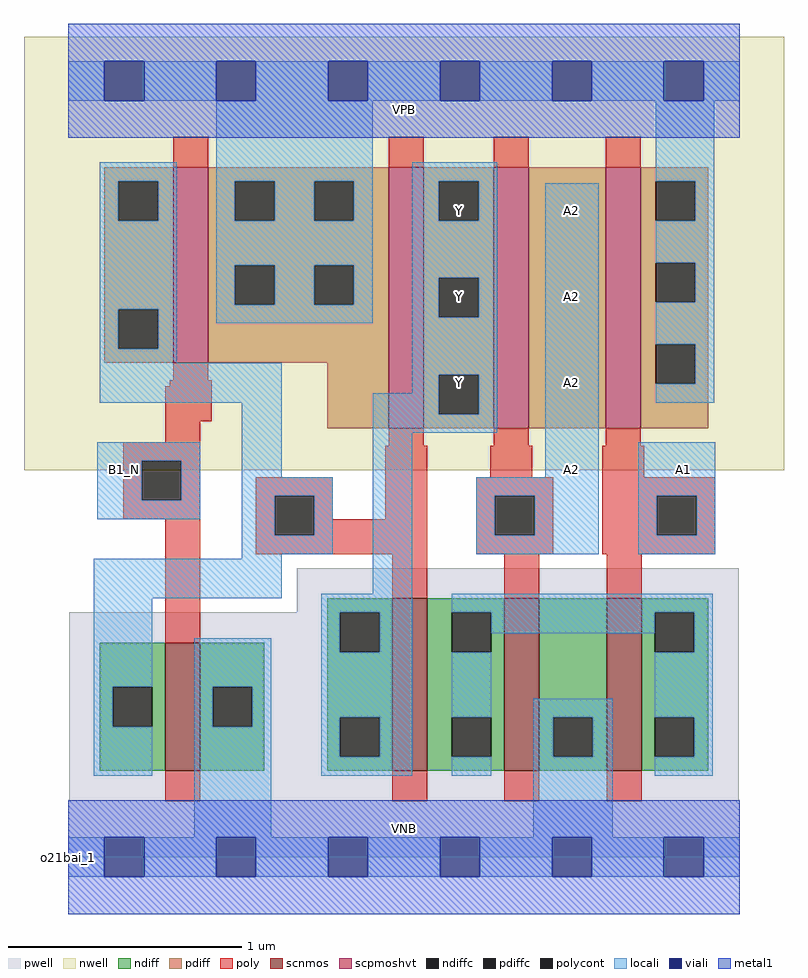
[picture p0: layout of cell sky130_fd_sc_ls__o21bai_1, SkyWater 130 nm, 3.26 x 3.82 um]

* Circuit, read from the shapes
.subckt sky130_fd_sc_ls__o21bai_1 A1 A2 B1_N VGND VNB VPB VPWR Y
XM1 VGND B1_N n1 VNB sky130_fd_pr__nfet_01v8 w=0.55 l=0.15
XM2 n2 n1 Y VNB sky130_fd_pr__nfet_01v8 w=0.74 l=0.15
XM3 VGND A2 n2 VNB sky130_fd_pr__nfet_01v8 w=0.74 l=0.15
XM4 n2 A1 VGND VNB sky130_fd_pr__nfet_01v8 w=0.74 l=0.15
XM5 VPWR B1_N n1 VPB sky130_fd_pr__pfet_01v8_hvt w=0.84 l=0.15
XM6 Y n1 VPWR VPB sky130_fd_pr__pfet_01v8_hvt w=1.12 l=0.15
XM7 n3 A2 Y VPB sky130_fd_pr__pfet_01v8_hvt w=1.12 l=0.15
XM8 VPWR A1 n3 VPB sky130_fd_pr__pfet_01v8_hvt w=1.12 l=0.15
.ends

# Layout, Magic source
magic
tech sky130A
magscale 1 2
<< nwell >>
rect -38 332 614 704
<< pwell >>
rect 196 210 575 248
rect 1 49 575 210
rect 0 0 576 49
<< scnmos >>
rect 83 74 113 184
rect 278 74 308 222
rect 374 74 404 222
rect 462 74 492 222
<< scpmoshvt >>
rect 90 424 120 592
rect 275 368 305 592
rect 365 368 395 592
rect 461 368 491 592
<< ndiff >>
rect 222 210 278 222
rect 27 146 83 184
rect 27 112 38 146
rect 72 112 83 146
rect 27 74 83 112
rect 113 146 168 184
rect 113 112 124 146
rect 158 112 168 146
rect 113 74 168 112
rect 222 176 233 210
rect 267 176 278 210
rect 222 120 278 176
rect 222 86 233 120
rect 267 86 278 120
rect 222 74 278 86
rect 308 210 374 222
rect 308 176 329 210
rect 363 176 374 210
rect 308 120 374 176
rect 308 86 329 120
rect 363 86 374 120
rect 308 74 374 86
rect 404 120 462 222
rect 404 86 416 120
rect 450 86 462 120
rect 404 74 462 86
rect 492 210 549 222
rect 492 176 503 210
rect 537 176 549 210
rect 492 120 549 176
rect 492 86 503 120
rect 537 86 549 120
rect 492 74 549 86
<< pdiff >>
rect 31 580 90 592
rect 31 546 43 580
rect 77 546 90 580
rect 31 470 90 546
rect 31 436 43 470
rect 77 436 90 470
rect 31 424 90 436
rect 120 580 275 592
rect 120 546 143 580
rect 177 546 211 580
rect 245 546 275 580
rect 120 508 275 546
rect 120 474 143 508
rect 177 474 211 508
rect 245 474 275 508
rect 120 424 275 474
rect 222 368 275 424
rect 305 580 365 592
rect 305 546 318 580
rect 352 546 365 580
rect 305 497 365 546
rect 305 463 318 497
rect 352 463 365 497
rect 305 414 365 463
rect 305 380 318 414
rect 352 380 365 414
rect 305 368 365 380
rect 395 368 461 592
rect 491 580 549 592
rect 491 546 504 580
rect 538 546 549 580
rect 491 510 549 546
rect 491 476 504 510
rect 538 476 549 510
rect 491 440 549 476
rect 491 406 504 440
rect 538 406 549 440
rect 491 368 549 406
<< ndiffc >>
rect 38 112 72 146
rect 124 112 158 146
rect 233 176 267 210
rect 233 86 267 120
rect 329 176 363 210
rect 329 86 363 120
rect 416 86 450 120
rect 503 176 537 210
rect 503 86 537 120
<< pdiffc >>
rect 43 546 77 580
rect 43 436 77 470
rect 143 546 177 580
rect 211 546 245 580
rect 143 474 177 508
rect 211 474 245 508
rect 318 546 352 580
rect 318 463 352 497
rect 318 380 352 414
rect 504 546 538 580
rect 504 476 538 510
rect 504 406 538 440
<< poly >>
rect 90 592 120 618
rect 275 592 305 618
rect 365 592 395 618
rect 461 592 491 618
rect 90 409 120 424
rect 87 404 123 409
rect 83 374 123 404
rect 83 356 113 374
rect 47 340 113 356
rect 275 353 305 368
rect 365 353 395 368
rect 461 353 491 368
rect 47 306 63 340
rect 97 306 113 340
rect 47 290 113 306
rect 83 184 113 290
rect 161 310 227 326
rect 161 276 177 310
rect 211 290 227 310
rect 272 290 308 353
rect 362 326 398 353
rect 458 326 494 353
rect 211 276 308 290
rect 161 260 308 276
rect 350 310 416 326
rect 350 276 366 310
rect 400 276 416 310
rect 350 260 416 276
rect 458 310 555 326
rect 458 276 505 310
rect 539 276 555 310
rect 458 260 555 276
rect 278 222 308 260
rect 374 222 404 260
rect 462 222 492 260
rect 83 48 113 74
rect 278 48 308 74
rect 374 48 404 74
rect 462 48 492 74
<< polycont >>
rect 63 306 97 340
rect 177 276 211 310
rect 366 276 400 310
rect 505 276 539 310
<< locali >>
rect 0 649 31 683
rect 65 649 127 683
rect 161 649 223 683
rect 257 649 319 683
rect 353 649 415 683
rect 449 649 511 683
rect 545 649 576 683
rect 27 580 93 596
rect 27 546 43 580
rect 77 546 93 580
rect 27 470 93 546
rect 27 436 43 470
rect 77 436 93 470
rect 127 580 261 649
rect 127 546 143 580
rect 177 546 211 580
rect 245 546 261 580
rect 127 508 261 546
rect 127 474 143 508
rect 177 474 211 508
rect 245 474 261 508
rect 127 458 261 474
rect 295 580 368 596
rect 295 546 318 580
rect 352 546 368 580
rect 504 580 554 649
rect 295 497 368 546
rect 295 463 318 497
rect 352 463 368 497
rect 27 424 93 436
rect 27 390 183 424
rect 295 414 368 463
rect 295 398 318 414
rect 25 340 113 356
rect 25 306 63 340
rect 97 306 113 340
rect 25 290 113 306
rect 149 326 183 390
rect 261 380 318 398
rect 352 380 368 414
rect 261 364 368 380
rect 149 310 227 326
rect 149 276 177 310
rect 211 276 227 310
rect 149 260 227 276
rect 149 256 183 260
rect 22 222 183 256
rect 261 226 295 364
rect 409 326 455 578
rect 538 546 554 580
rect 504 510 554 546
rect 538 476 554 510
rect 504 440 554 476
rect 538 406 554 440
rect 504 390 554 406
rect 350 310 455 326
rect 350 276 366 310
rect 400 276 455 310
rect 350 260 455 276
rect 489 310 555 356
rect 489 276 505 310
rect 539 276 555 310
rect 489 260 555 276
rect 22 146 72 222
rect 217 210 295 226
rect 22 112 38 146
rect 22 70 72 112
rect 108 146 174 188
rect 108 112 124 146
rect 158 112 174 146
rect 108 17 174 112
rect 217 176 233 210
rect 267 176 295 210
rect 217 120 295 176
rect 217 86 233 120
rect 267 86 295 120
rect 217 70 295 86
rect 329 210 553 226
rect 363 192 503 210
rect 329 120 363 176
rect 537 176 553 210
rect 329 70 363 86
rect 399 120 467 136
rect 399 86 416 120
rect 450 86 467 120
rect 399 17 467 86
rect 503 120 553 176
rect 537 86 553 120
rect 503 70 553 86
rect 0 -17 31 17
rect 65 -17 127 17
rect 161 -17 223 17
rect 257 -17 319 17
rect 353 -17 415 17
rect 449 -17 511 17
rect 545 -17 576 17
<< viali >>
rect 31 649 65 683
rect 127 649 161 683
rect 223 649 257 683
rect 319 649 353 683
rect 415 649 449 683
rect 511 649 545 683
rect 31 -17 65 17
rect 127 -17 161 17
rect 223 -17 257 17
rect 319 -17 353 17
rect 415 -17 449 17
rect 511 -17 545 17
<< metal1 >>
rect 0 683 576 715
rect 0 649 31 683
rect 65 649 127 683
rect 161 649 223 683
rect 257 649 319 683
rect 353 649 415 683
rect 449 649 511 683
rect 545 649 576 683
rect 0 617 576 649
rect 0 17 576 49
rect 0 -17 31 17
rect 65 -17 127 17
rect 161 -17 223 17
rect 257 -17 319 17
rect 353 -17 415 17
rect 449 -17 511 17
rect 545 -17 576 17
rect 0 -49 576 -17
<< labels >>
rlabel comment s 0 0 0 0 4 o21bai_1
flabel pwell s 0 0 576 49 0 FreeSans 200 0 0 0 VNB
port 5 nsew ground bidirectional
flabel nwell s 0 617 576 666 0 FreeSans 200 0 0 0 VPB
port 6 nsew power bidirectional
flabel metal1 s 0 617 576 666 0 FreeSans 340 0 0 0 VPWR
port 7 nsew power bidirectional abutment
flabel metal1 s 0 0 576 49 0 FreeSans 340 0 0 0 VGND
port 4 nsew ground bidirectional abutment
flabel locali s 31 316 65 350 0 FreeSans 340 0 0 0 B1_N
port 3 nsew signal input
flabel locali s 319 390 353 424 0 FreeSans 340 0 0 0 Y
port 8 nsew signal output
flabel locali s 319 464 353 498 0 FreeSans 340 0 0 0 Y
port 8 nsew signal output
flabel locali s 319 538 353 572 0 FreeSans 340 0 0 0 Y
port 8 nsew signal output
flabel locali s 415 316 449 350 0 FreeSans 340 0 0 0 A2
port 2 nsew signal input
flabel locali s 415 390 449 424 0 FreeSans 340 0 0 0 A2
port 2 nsew signal input
flabel locali s 415 464 449 498 0 FreeSans 340 0 0 0 A2
port 2 nsew signal input
flabel locali s 415 538 449 572 0 FreeSans 340 0 0 0 A2
port 2 nsew signal input
flabel locali s 511 316 545 350 0 FreeSans 340 0 0 0 A1
port 1 nsew signal input
<< properties >>
string LEFsite unit
string LEFclass CORE
string FIXED_BBOX 0 0 576 666
string GDS_FILE $PDKPATH/libs.ref/sky130_fd_sc_ls/gds/sky130_fd_sc_ls.gds
string LEFsymmetry X Y
string GDS_END 3049236
string GDS_START 3042870
<< end >>
